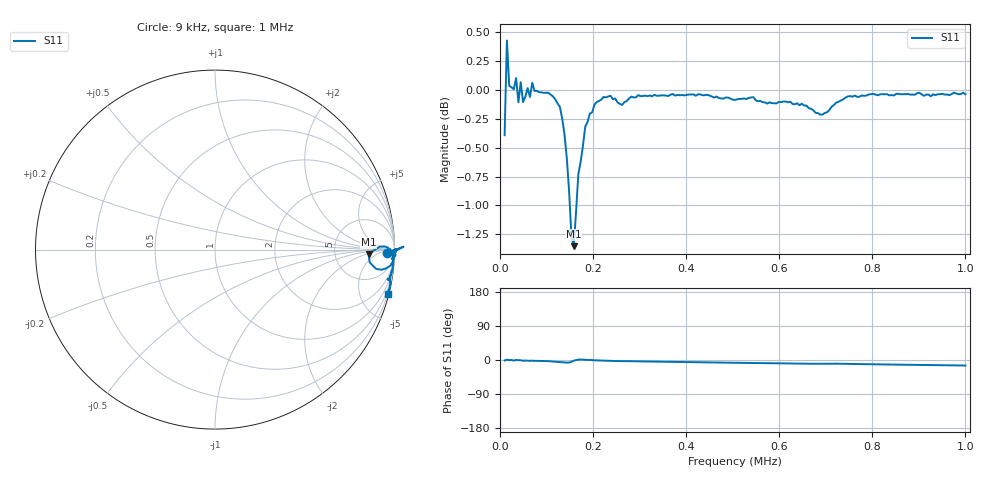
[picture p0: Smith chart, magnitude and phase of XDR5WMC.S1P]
!Agilent Technologies,E5071C,MY46100305,A.07.02
!Date: Fri Jan 01 00:44:19 1988
!Data & Calibration Information:
!Freq	S11:SOLT1(ON)
# Hz S MA R 50
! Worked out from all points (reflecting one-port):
!   201 points, 9 kHz to 1 MHz, reference 50 ohm
!   lowest |S11| = -1.4 dB at 157.7 kHz (marker M1), VSWR 12.87, Z = 621 - j118 ohm
!   phase of S11 starts at -1 deg and turns -13 deg over the sweep
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9000  0.9558 -1.3
13955  1.05 0.9
18910  1.004 -0.5
23865  1.003 0.1
28820  1.001 -1.6
33775  1.012 0.2
38730  0.9878 -0.4
43685  1.008 -0.6
48640  0.9879 -2.0
58550  1.002 -1.9
63505  0.993 -2.2
68460  1.007 -1.7
113055  0.9935 -3.8
132875  0.9717 -5.7
147740  0.9038 -6.8
152695  0.8647 -4.7
157650  0.8558 -1.7
167560  0.9196 1.1
182425  0.964 0.6
222065  0.993 -1.7
256750  0.9862 -2.9
380625  0.995 -5.2
504500  0.9901 -7.3
628375  0.986 -9.2
687835  0.9757 -9.7
752250  0.9938 -10.4
876125  0.9959 -12.5
1000000  0.9957 -14.5
